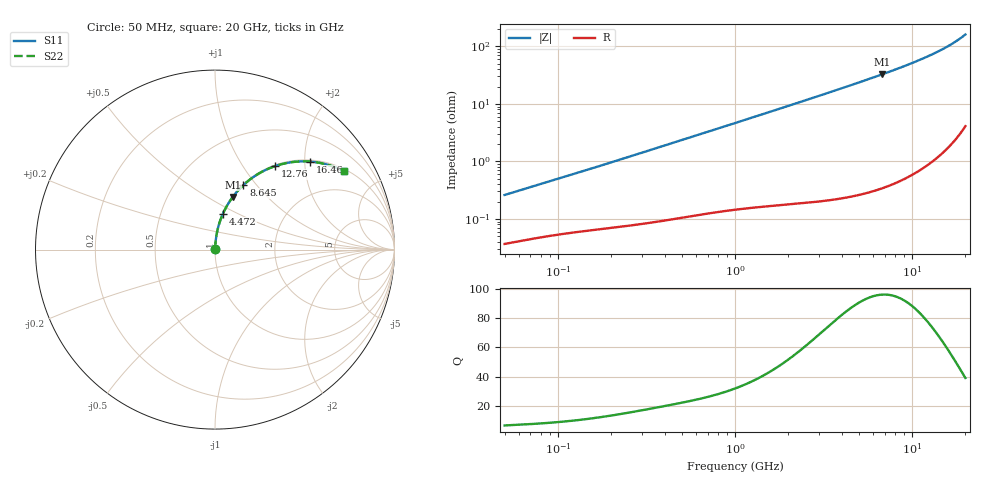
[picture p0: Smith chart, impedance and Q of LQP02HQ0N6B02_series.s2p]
!Murata Part Number: LQP02HQ0N6B02
!These Parameters are Measured in Series Mode Connection
!  o--[Z]--o
!Port1  Port2
!  o-------o
!Freq. Start=50[MHz] Stop=20[GHz], 401[Steps]
# Hz S RI R 50
!Freq.(Hz) S11(Real) S11(Imag) S21(Real) S21(Imag) S12(Real) S12(Imag) S22(Real) S22(Imag)
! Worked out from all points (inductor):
!   401 points, 50 MHz to 20 GHz, reference 50 ohm
!   read as one part in series: L = 808 pH near 51.52 MHz
!   highest Q = 95.8 at 6.802 GHz (marker M1), where L = 766 pH
!   S11 on the Smith chart (normalised r, x): 50 MHz: 1.00, +0.01; 4.472 GHz: 1.00, +0.42; 8.645 GHz: 1.01, +0.86; 12.76 GHz: 1.02, +1.42; 16.46 GHz: 1.04, +2.13; 20 GHz: 1.08, +3.22
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5e7  0.000374 0.00258  0.9996 -0.00258  0.9996 -0.00258  0.000374 0.00258
5.152053e7  0.00038 0.00265  0.9996 -0.00265  0.9996 -0.00265  0.00038 0.00265
1.364002e8  0.000649 0.00663  0.9994 -0.00663  0.9994 -0.00663  0.000649 0.00663
3.721004e8  0.00121 0.0175  0.9988 -0.0175  0.9988 -0.0175  0.00121 0.0175
1e9  0.00357 0.0461  0.9964 -0.0461  0.9964 -0.0461  0.00357 0.0461
1.714689e9  0.00789 0.0783  0.9921 -0.0783  0.9921 -0.0783  0.00789 0.0783
2.728004e9  0.0175 0.1236  0.9825 -0.1236  0.9825 -0.1236  0.0175 0.1236
3.519108e9  0.0279 0.1584  0.9721 -0.1584  0.9721 -0.1584  0.0279 0.1584
4.472136e9  0.044 0.1995  0.956 -0.1995  0.956 -0.1995  0.044 0.1995
5.598765e9  0.068 0.2464  0.932 -0.2464  0.932 -0.2464  0.068 0.2464
6.802353e9  0.0994 0.294  0.9006 -0.294  0.9006 -0.294  0.0994 0.294
7.442007e9  0.1185 0.318  0.8815 -0.318  0.8815 -0.318  0.1185 0.318
8.644534e9  0.1588 0.3601  0.8412 -0.3601  0.8412 -0.3601  0.1588 0.3601
9.600142e9  0.1948 0.3905  0.8052 -0.3905  0.8052 -0.3905  0.1948 0.3905
1.066139e10  0.2386 0.4204  0.7614 -0.4204  0.7614 -0.4204  0.2386 0.4204
1.166392e10  0.2835 0.4445  0.7165 -0.4445  0.7165 -0.4445  0.2835 0.4445
1.276073e10  0.336 0.4657  0.664 -0.4657  0.664 -0.4657  0.336 0.4657
1.460232e10  0.4305 0.4875  0.5695 -0.4875  0.5695 -0.4875  0.4305 0.4875
1.646126e10  0.5305 0.4902  0.4695 -0.4902  0.4695 -0.4902  0.5305 0.4902
1.800918e10  0.6141 0.4766  0.3859 -0.4766  0.3859 -0.4766  0.6141 0.4766
1.940974e10  0.6872 0.4519  0.3128 -0.4519  0.3128 -0.4519  0.6872 0.4519
2e10  0.7167 0.4381  0.2833 -0.4381  0.2833 -0.4381  0.7167 0.4381
